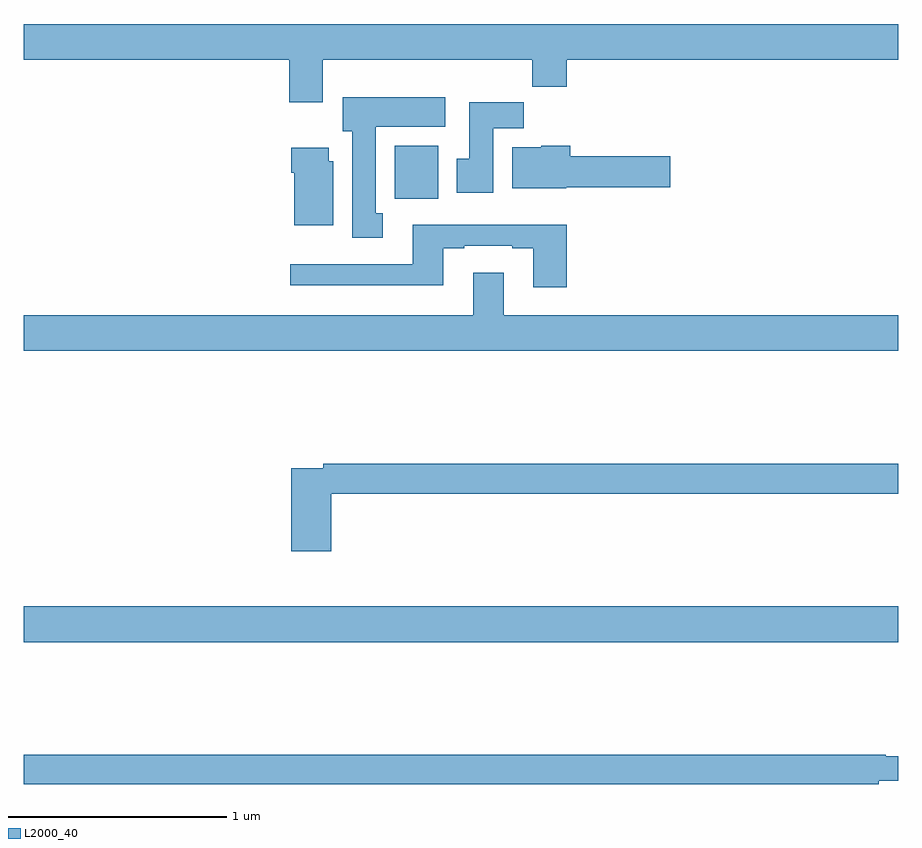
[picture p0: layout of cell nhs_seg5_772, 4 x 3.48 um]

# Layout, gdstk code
import gdstk
lib = gdstk.Library(unit=1e-6, precision=1e-09)
def R(c, l, rs):  # rectangles x0, y0, x1, y1
    for r in rs: c.add(gdstk.rectangle(r[:2], r[2:], *l))
def P(c, l, *ps):  # polygons
    for p in ps: c.add(gdstk.Polygon(p, *l))
L2000_40 = (2000, 40)

nhs_seg5_772 = lib.new_cell('nhs_seg5_772')
R(nhs_seg5_772, L2000_40, [(161,835.448,165,835.612), (162.698,837.476,162.895,837.718)])
P(nhs_seg5_772, L2000_40, [(162.367,838.112),(163.327,838.112),(163.327,837.988),(163.484,837.988),(163.484,838.112),(165,838.112),(165,838.276),(161,838.276),(161,838.112),(162.215,838.112),(162.215,837.918),(162.367,837.918)],
  [(162.643,837.41),(162.61,837.41),(162.61,837.806),(162.928,837.806),(162.928,837.94),(162.458,837.94),(162.458,837.786),(162.503,837.786),(162.503,837.297),(162.643,837.297)],
  [(163.147,837.8),(163.286,837.8),(163.286,837.919),(163.037,837.919),(163.037,837.66),(162.98,837.66),(162.98,837.504),(163.147,837.504)],
  [(163.482,837.53),(163.957,837.53),(163.957,837.672),(163.499,837.672),(163.499,837.718),(163.368,837.718),(163.368,837.712),(163.235,837.712),(163.235,837.524),(163.482,837.524)],
  [(162.415,837.648),(162.394,837.648),(162.394,837.709),(162.224,837.709),(162.224,837.596),(162.236,837.596),(162.236,837.356),(162.415,837.356)],
  [(163.484,837.358),(162.779,837.358),(162.779,837.177),(162.219,837.177),(162.219,837.08),(162.919,837.08),(162.919,837.249),(163.015,837.249),(163.015,837.261),(163.235,837.261),(163.235,837.249),(163.331,837.249),(163.331,837.072),(163.484,837.072)],
  [(165,836.944),(163.195,836.944),(163.195,837.139),(163.055,837.139),(163.055,836.944),(161,836.944),(161,836.78),(165,836.78)],
  [(162.407,836.128),(165,836.128),(165,836.264),(162.37,836.264),(162.37,836.244),(162.224,836.244),(162.224,835.863),(162.407,835.863)],
  [(164.912,834.815),(165,834.815),(165,834.925),(164.944,834.925),(164.944,834.932),(161,834.932),(161,834.799),(164.912,834.799)])

lib.write_gds('nhs_seg5_772.gds')
